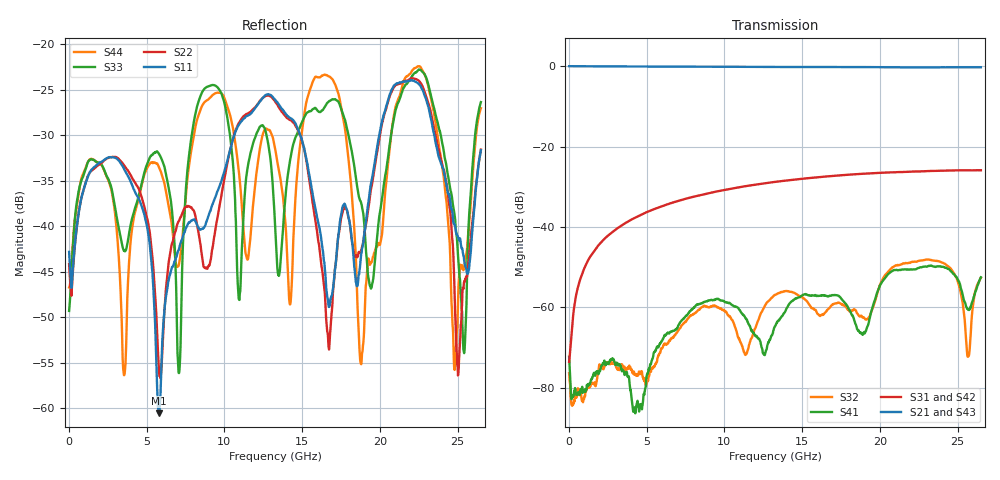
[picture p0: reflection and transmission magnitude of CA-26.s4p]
! MARKI MICROWAVE INC.
! Email:  info@markimicrowave.com  Phone:  408-778-4200
! Model Number:  CA-26  Date:  10/12
! Filename:		CA_26.S4P  Version: 1.0
! Description:  4-port S-parameter data for Airline Coupler CA-26
! Frequency Range: 	10 MHz to 26.5 GHz
! Port Configuration:	PORT 1: Input
!  PORT 2: Output
!  Port 3: Coupled
!  Port 4: Isolated
! S4P File: Measurements: Mag<S11> Ang<S11> Mag<S12> Ang<S12> Mag<S13> Ang<S13> Mag<S14> Ang<S14>! row 1
!  Mag<S21> Ang<S21> Mag<S22> Ang<S22> Mag<S23> Ang<S23> Mag<S24> Ang<S24>! row 2
!  Mag<S31> Ang<S31> Mag<S32> Ang<S32> Mag<S33> Ang<S33> Mag<S34> Ang<S34>! row 3
!  Mag<S41> Ang<S41> Mag<S42> Ang<S42> Mag<S43> Ang<S43> Mag<S44> Ang<S44>! row 4
# Hz S  dB  R 50
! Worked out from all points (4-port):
!   1601 points, 10 MHz to 26.5 GHz, reference 50 ohm
!   strongest paths, dB at 10 MHz, 6.633 GHz, 13.26 GHz, 19.88 GHz, 26.5 GHz:
!     S21: 0.0, -0.1, -0.2, -0.3, -0.3
!     S43: 0.0, -0.2, -0.3, -0.4, -0.4
!     S31: -73.5, -34.0, -28.8, -26.6, -25.9
!     S42: -69.1, -34.0, -28.9, -26.6, -25.9
!     S41: -72.3, -65.9, -64.7, -55.9, -52.5
!     S32: -76.4, -67.7, -56.9, -55.9, -52.6
!   lowest |S11| = -60.5 dB at 5.788 GHz (marker M1), VSWR 1.00, Z = 50.1 + j0.0448 ohm
!   |S11| at or under -10 dB: start of sweep to end of sweep
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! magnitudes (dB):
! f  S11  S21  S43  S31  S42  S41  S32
! 10 MHz  -42.8  0.0  0.0  -73.5  -69.1  -72.3  -76.4
! 5.788 GHz  -60.5  -0.1  -0.2  -35.1  -35.1  -69.6  -71.9
! 16.85 GHz  -47.8  -0.2  -0.4  -27.4  -27.4  -57.1  -59.7
! 18.8 GHz  -43.0  -0.2  -0.4  -26.8  -26.8  -66.4  -62.1
! 22.56 GHz  -24.5  -0.3  -0.4  -26.2  -26.2  -50.1  -48.4
! 24.84 GHz  -40.0  -0.3  -0.4  -25.9  -26.0  -52.1  -52.1
! 26.5 GHz  -31.6  -0.3  -0.4  -25.9  -25.9  -52.5  -52.6
